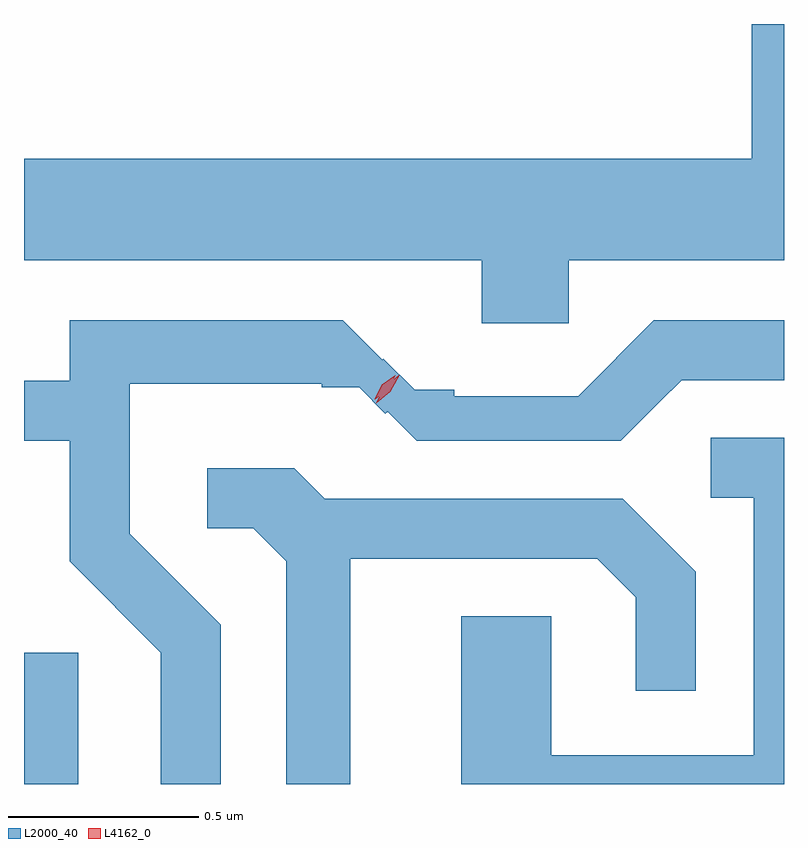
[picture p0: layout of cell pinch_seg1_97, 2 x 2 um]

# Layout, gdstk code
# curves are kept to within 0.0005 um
import gdstk
lib = gdstk.Library(unit=1e-6, precision=1e-09)
def R(c, l, rs):  # rectangles x0, y0, x1, y1
    for r in rs: c.add(gdstk.rectangle(r[:2], r[2:], *l))
def P(c, l, *ps):  # polygons
    for p in ps: c.add(gdstk.Polygon(p, *l))
L2000_40 = (2000, 40)
L4162_0 = (4162, 0)

pinch_seg1_97 = lib.new_cell('pinch_seg1_97')
R(pinch_seg1_97, L2000_40, [(1032.341,847.138,1032.484,847.484)])
P(pinch_seg1_97, L2000_40, [(1033.774,848.516),(1034.341,848.516),(1034.341,849.138),(1034.256,849.138),(1034.256,848.784),(1032.341,848.784),(1032.341,848.516),(1033.546,848.516),(1033.546,848.351),(1033.774,848.351)],
  [(1032.859,847.557),(1032.619,847.797),(1032.619,848.191),(1033.125,848.191),(1033.125,848.182),(1033.223,848.182),(1033.292,848.112),(1033.298,848.118),(1033.374,848.041),(1033.911,848.041),(1034.072,848.201),(1034.341,848.201),(1034.341,848.359),(1033.998,848.359),(1033.799,848.159),(1033.473,848.159),(1033.473,848.175),(1033.369,848.175),(1033.287,848.257),(1033.284,848.254),(1033.18,848.359),(1032.461,848.359),(1032.461,848.199),(1032.341,848.199),(1032.341,848.041),(1032.461,848.041),(1032.461,847.724),(1032.701,847.484),(1032.701,847.138),(1032.859,847.138)],
  [(1034.341,848.049),(1034.148,848.049),(1034.148,847.891),(1034.261,847.891),(1034.261,847.214),(1033.729,847.214),(1033.729,847.579),(1033.491,847.579),(1033.491,847.138),(1034.341,847.138)],
  [(1033.199,847.731),(1033.849,847.731),(1033.951,847.629),(1033.951,847.383),(1034.109,847.383),(1034.109,847.697),(1033.917,847.889),(1033.132,847.889),(1033.052,847.969),(1032.823,847.969),(1032.823,847.811),(1032.944,847.811),(1033.031,847.724),(1033.031,847.138),(1033.199,847.138)])
P(pinch_seg1_97, L4162_0, [(1033.264,848.151),(1033.264,848.152),(1033.283,848.189),(1033.318,848.214),(1033.318,848.214),(1033.318,848.214),(1033.299,848.176),(1033.265,848.151)],
  [(1033.268,848.14),(1033.268,848.141),(1033.29,848.183),(1033.327,848.214),(1033.328,848.214),(1033.328,848.213),(1033.305,848.17),(1033.268,848.14)])

lib.write_gds('pinch_seg1_97.gds')
